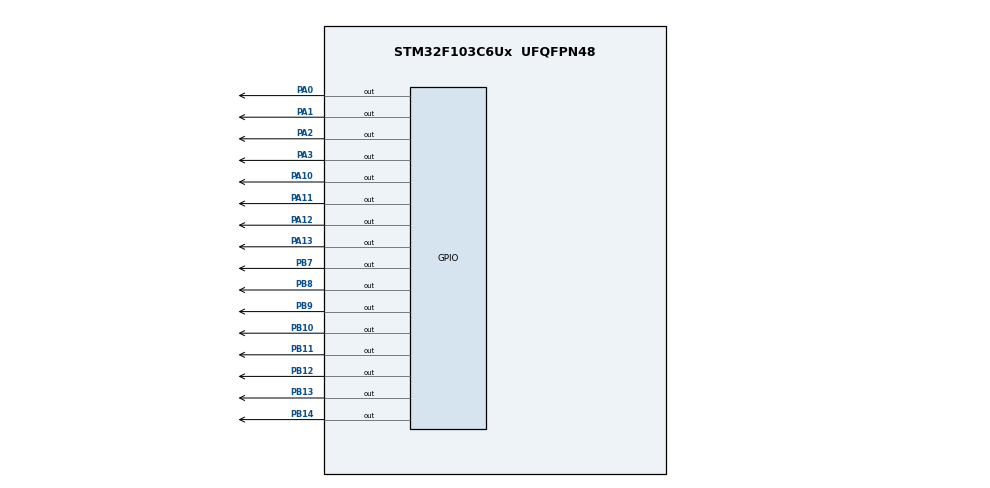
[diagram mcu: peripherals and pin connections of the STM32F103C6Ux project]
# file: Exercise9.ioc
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Mcu.Family=STM32F1
Mcu.Name=STM32F103C6Ux
Mcu.Package=UFQFPN48
NVIC.PriorityGroup=NVIC_PRIORITYGROUP_4
NVIC.TIM2_IRQn=true\:0\:0\:false\:false\:true\:true\:true
PA0-WKUP.Signal=GPIO_Output
PA1.Signal=GPIO_Output
PA10.Signal=GPIO_Output
PA11.Signal=GPIO_Output
PA12.Signal=GPIO_Output
PA13.Signal=GPIO_Output
PA2.Signal=GPIO_Output
PA3.Signal=GPIO_Output
PB10.Signal=GPIO_Output
PB11.Signal=GPIO_Output
PB12.Signal=GPIO_Output
PB13.Signal=GPIO_Output
PB14.Signal=GPIO_Output
PB7.Signal=GPIO_Output
PB8.Signal=GPIO_Output
PB9.Signal=GPIO_Output
ProjectManager.HeapSize=0x200
ProjectManager.StackSize=0x400
ProjectManager.TargetToolchain=STM32CubeIDE
RCC.APB1Freq_Value=8000000
RCC.APB2Freq_Value=8000000
TIM2.Prescaler=7999
VP_SYS_VS_ND.Mode=No_Debug
VP_TIM2_VS_ClockSourceINT.Mode=Internal
board=custom

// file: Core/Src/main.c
/* USER CODE BEGIN Header */
/**
  ******************************************************************************
  * @file           : main.c
  * @brief          : Main program body
  ******************************************************************************
  * @attention
  *
  * <h2><center>&copy; Copyright (c) 2023 STMicroelectronics.
  * All rights reserved.</center></h2>
  *
  * This software component is licensed by ST under BSD 3-Clause license,
  * the "License"; You may not use this file except in compliance with the
  * License. You may obtain a copy of the License at:
  *                        opensource.org/licenses/BSD-3-Clause
  *
  ******************************************************************************
  */
/* USER CODE END Header */
#include "main.h"

TIM_HandleTypeDef htim2;

void SystemClock_Config(void);
static void MX_GPIO_Init(void);
static void MX_TIM2_Init(void);

int main(void)
{

  /* MCU Configuration--------------------------------------------------------*/

  /* Reset of all peripherals, Initializes the Flash interface and the Systick. */
  HAL_Init();

  /* Configure the system clock */
  SystemClock_Config();

  /* Initialize all configured peripherals */
  MX_GPIO_Init();
  MX_TIM2_Init();
  /* USER CODE BEGIN 2 */
  const int MAX_LED_MATRIX = 8;
  int index_led_matrix = 0;
  uint8_t matrix_buffer [8] = {0x11, 0x11, 0x11, 0x11, 0x11, 0x11 , 0x11 , 0x11};
  uint8_t matrix_source [8] = {0x18, 0x3c, 0x66, 0x66, 0x7e, 0x7e , 0x66 , 0x66};
  void updateLEDMatrix (int index ){
  	index = index%8;
  	GPIOA->ODR = ~matrix_source[index];
  	switch ( index ){
  		case 0:
  			HAL_GPIO_WritePin(GPIOB, GPIO_PIN_7, 0);
  			HAL_Delay(1);
  			HAL_GPIO_WritePin(GPIOB, GPIO_PIN_7, 1);
  			break ;
  		case 1:
  			HAL_GPIO_WritePin(GPIOB, GPIO_PIN_8, 0);
  			HAL_Delay(1);
  			HAL_GPIO_WritePin(GPIOB, GPIO_PIN_8, 1);
  			break ;
  		case 2:
  			HAL_GPIO_WritePin(GPIOB, GPIO_PIN_9, 0);
  			HAL_Delay(1);
  			HAL_GPIO_WritePin(GPIOB, GPIO_PIN_9, 1);
  			break ;
  		case 3:
  			HAL_GPIO_WritePin(GPIOB, GPIO_PIN_10, 0);
  			HAL_Delay(1);
  			HAL_GPIO_WritePin(GPIOB, GPIO_PIN_10, 1);
  			break ;
  		case 4:
  			HAL_GPIO_WritePin(GPIOB, GPIO_PIN_11, 0);
  			HAL_Delay(1);
  			HAL_GPIO_WritePin(GPIOB, GPIO_PIN_11, 1);
  			break ;
  		case 5:
  			HAL_GPIO_WritePin(GPIOB, GPIO_PIN_12, 0);
  			HAL_Delay(1);
  			HAL_GPIO_WritePin(GPIOB, GPIO_PIN_12, 1);
  			break ;
  		case 6:
  			HAL_GPIO_WritePin(GPIOB, GPIO_PIN_13, 0);
  			HAL_Delay(1);
  			HAL_GPIO_WritePin(GPIOB, GPIO_PIN_13, 1);
  			break ;
  		case 7:
  			HAL_GPIO_WritePin(GPIOB, GPIO_PIN_14, 0);
  			HAL_Delay(1);
  			HAL_GPIO_WritePin(GPIOB, GPIO_PIN_14, 1);
  			break ;
  		default :
  			break ;
  	}
  }
  /* USER CODE END 2 */

  /* Infinite loop */
  while (1)
  {

  }
}

void SystemClock_Config(void)
{
  RCC_OscInitTypeDef RCC_OscInitStruct = {0};
  RCC_ClkInitTypeDef RCC_ClkInitStruct = {0};

  /** Initializes the RCC Oscillators according to the specified parameters
  * in the RCC_OscInitTypeDef structure.
  */
  RCC_OscInitStruct.OscillatorType = RCC_OSCILLATORTYPE_HSI;
  RCC_OscInitStruct.HSIState = RCC_HSI_ON;
  RCC_OscInitStruct.HSICalibrationValue = RCC_HSICALIBRATION_DEFAULT;
  RCC_OscInitStruct.PLL.PLLState = RCC_PLL_NONE;
  if (HAL_RCC_OscConfig(&RCC_OscInitStruct) != HAL_OK)
  {
    Error_Handler();
  }
  /** Initializes the CPU, AHB and APB buses clocks
  */
  RCC_ClkInitStruct.ClockType = RCC_CLOCKTYPE_HCLK|RCC_CLOCKTYPE_SYSCLK
                              |RCC_CLOCKTYPE_PCLK1|RCC_CLOCKTYPE_PCLK2;
  RCC_ClkInitStruct.SYSCLKSource = RCC_SYSCLKSOURCE_HSI;
  RCC_ClkInitStruct.AHBCLKDivider = RCC_SYSCLK_DIV1;
  RCC_ClkInitStruct.APB1CLKDivider = RCC_HCLK_DIV1;
  RCC_ClkInitStruct.APB2CLKDivider = RCC_HCLK_DIV1;

  if (HAL_RCC_ClockConfig(&RCC_ClkInitStruct, FLASH_LATENCY_0) != HAL_OK)
  {
    Error_Handler();
  }
}

static void MX_TIM2_Init(void)
{

  TIM_ClockConfigTypeDef sClockSourceConfig = {0};
  TIM_MasterConfigTypeDef sMasterConfig = {0};

  htim2.Instance = TIM2;
  htim2.Init.Prescaler = 7999;
  htim2.Init.CounterMode = TIM_COUNTERMODE_UP;
  htim2.Init.Period = 65535;
  htim2.Init.ClockDivision = TIM_CLOCKDIVISION_DIV1;
  htim2.Init.AutoReloadPreload = TIM_AUTORELOAD_PRELOAD_DISABLE;
  if (HAL_TIM_Base_Init(&htim2) != HAL_OK)
  {
    Error_Handler();
  }
  sClockSourceConfig.ClockSource = TIM_CLOCKSOURCE_INTERNAL;
  if (HAL_TIM_ConfigClockSource(&htim2, &sClockSourceConfig) != HAL_OK)
  {
    Error_Handler();
  }
  sMasterConfig.MasterOutputTrigger = TIM_TRGO_RESET;
  sMasterConfig.MasterSlaveMode = TIM_MASTERSLAVEMODE_DISABLE;
  if (HAL_TIMEx_MasterConfigSynchronization(&htim2, &sMasterConfig) != HAL_OK)
  {
    Error_Handler();
  }

}

static void MX_GPIO_Init(void)
{
  GPIO_InitTypeDef GPIO_InitStruct = {0};

  /* GPIO Ports Clock Enable */
  __HAL_RCC_GPIOA_CLK_ENABLE();
  __HAL_RCC_GPIOB_CLK_ENABLE();

  /*Configure GPIO pin Output Level */
  HAL_GPIO_WritePin(GPIOA, GPIO_PIN_0|GPIO_PIN_1|GPIO_PIN_2|GPIO_PIN_3
                          |GPIO_PIN_10|GPIO_PIN_11|GPIO_PIN_12|GPIO_PIN_13, GPIO_PIN_RESET);

  /*Configure GPIO pin Output Level */
  HAL_GPIO_WritePin(GPIOB, GPIO_PIN_10|GPIO_PIN_11|GPIO_PIN_12|GPIO_PIN_13
                          |GPIO_PIN_14|GPIO_PIN_7|GPIO_PIN_8|GPIO_PIN_9, GPIO_PIN_RESET);

  /*Configure GPIO pins : PA0 PA1 PA2 PA3
                           PA10 PA11 PA12 PA13 */
  GPIO_InitStruct.Pin = GPIO_PIN_0|GPIO_PIN_1|GPIO_PIN_2|GPIO_PIN_3
                          |GPIO_PIN_10|GPIO_PIN_11|GPIO_PIN_12|GPIO_PIN_13;
  GPIO_InitStruct.Mode = GPIO_MODE_OUTPUT_PP;
  GPIO_InitStruct.Pull = GPIO_NOPULL;
  GPIO_InitStruct.Speed = GPIO_SPEED_FREQ_LOW;
  HAL_GPIO_Init(GPIOA, &GPIO_InitStruct);

  /*Configure GPIO pins : PB10 PB11 PB12 PB13
                           PB14 PB7 PB8 PB9 */
  GPIO_InitStruct.Pin = GPIO_PIN_10|GPIO_PIN_11|GPIO_PIN_12|GPIO_PIN_13
                          |GPIO_PIN_14|GPIO_PIN_7|GPIO_PIN_8|GPIO_PIN_9;
  GPIO_InitStruct.Mode = GPIO_MODE_OUTPUT_PP;
  GPIO_InitStruct.Pull = GPIO_NOPULL;
  GPIO_InitStruct.Speed = GPIO_SPEED_FREQ_LOW;
  HAL_GPIO_Init(GPIOB, &GPIO_InitStruct);

}

void Error_Handler(void)
{
  __disable_irq();
  while (1)
  {
  }
}

/************************ (C) COPYRIGHT STMicroelectronics *****END OF FILE****/
